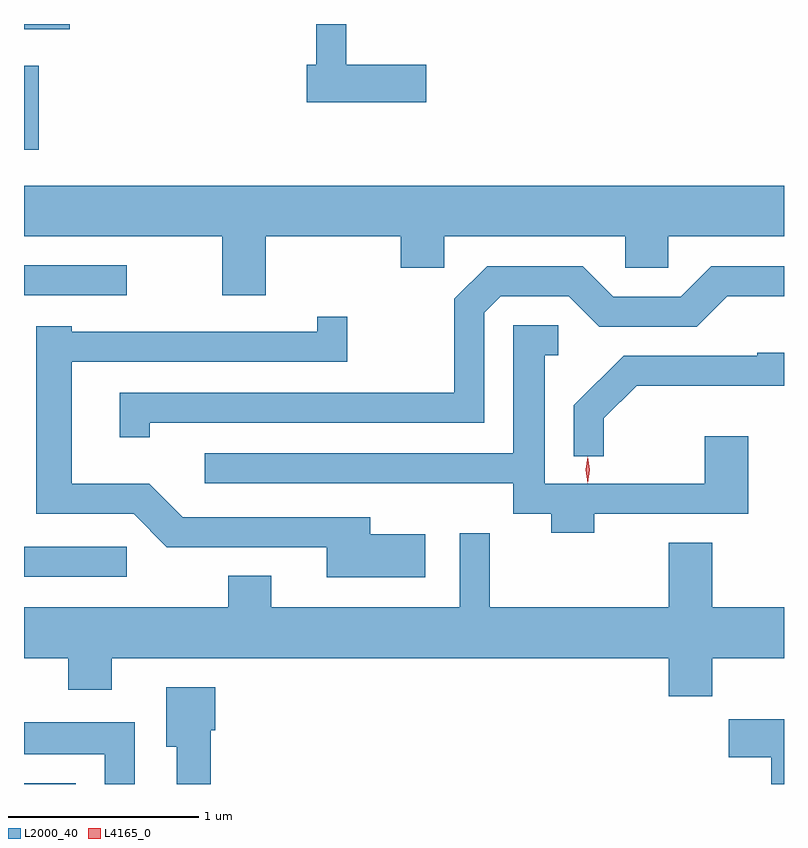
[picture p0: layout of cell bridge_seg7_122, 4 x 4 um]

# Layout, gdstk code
import gdstk
lib = gdstk.Library(unit=1e-6, precision=1e-09)
def R(c, l, rs):  # rectangles x0, y0, x1, y1
    for r in rs: c.add(gdstk.rectangle(r[:2], r[2:], *l))
def P(c, l, *ps):  # polygons
    for p in ps: c.add(gdstk.Polygon(p, *l))
L2000_40 = (2000, 40)
L4165_0 = (4165, 0)

bridge_seg7_122 = lib.new_cell('bridge_seg7_122')
R(bridge_seg7_122, L2000_40, [(1567.237,1773.594,1567.509,1773.599), (1567.237,1774.686,1567.778,1774.844), (1567.237,1776.166,1567.778,1776.324), (1567.237,1776.933,1567.314,1777.374), (1567.237,1777.566,1567.479,1777.594)])
P(bridge_seg7_122, L2000_40, [(1569.354,1777.379),(1568.934,1777.379),(1568.934,1777.594),(1568.776,1777.594),(1568.776,1777.379),(1568.726,1777.379),(1568.726,1777.181),(1569.354,1777.181)],
  [(1568.509,1776.476),(1569.221,1776.476),(1569.221,1776.311),(1569.449,1776.311),(1569.449,1776.476),(1570.401,1776.476),(1570.401,1776.311),(1570.629,1776.311),(1570.629,1776.476),(1571.237,1776.476),(1571.237,1776.744),(1567.237,1776.744),(1567.237,1776.476),(1568.281,1776.476),(1568.281,1776.166),(1568.509,1776.166)],
  [(1567.899,1775.496),(1569.659,1775.496),(1569.659,1776.074),(1569.747,1776.161),(1570.104,1776.161),(1570.264,1776.001),(1570.777,1776.001),(1570.937,1776.161),(1571.237,1776.161),(1571.237,1776.319),(1570.854,1776.319),(1570.694,1776.159),(1570.337,1776.159),(1570.177,1776.319),(1569.674,1776.319),(1569.501,1776.147),(1569.501,1775.654),(1567.741,1775.654),(1567.741,1775.418),(1567.899,1775.418)],
  [(1569.349,1774.909),(1569.059,1774.909),(1569.059,1774.999),(1568.072,1774.999),(1567.897,1775.174),(1567.489,1775.174),(1567.489,1775.816),(1568.939,1775.816),(1568.939,1776.053),(1568.781,1776.053),(1568.781,1775.974),(1567.489,1775.974),(1567.489,1776.004),(1567.301,1776.004),(1567.301,1775.016),(1567.814,1775.016),(1567.989,1774.841),(1568.831,1774.841),(1568.831,1774.681),(1569.349,1774.681)],
  [(1570.239,1775.016),(1571.049,1775.016),(1571.049,1775.424),(1570.821,1775.424),(1570.821,1775.174),(1569.979,1775.174),(1569.979,1775.851),(1570.048,1775.851),(1570.048,1776.009),(1569.811,1776.009),(1569.811,1775.334),(1568.188,1775.334),(1568.188,1775.176),(1569.811,1775.176),(1569.811,1775.016),(1570.011,1775.016),(1570.011,1774.916),(1570.239,1774.916)],
  [(1570.289,1775.519),(1570.462,1775.691),(1571.237,1775.691),(1571.237,1775.864),(1571.095,1775.864),(1571.095,1775.849),(1570.394,1775.849),(1570.131,1775.587),(1570.131,1775.318),(1570.289,1775.318)],
  [(1570.859,1774.256),(1571.237,1774.256),(1571.237,1774.524),(1570.859,1774.524),(1570.859,1774.864),(1570.631,1774.864),(1570.631,1774.524),(1569.689,1774.524),(1569.689,1774.913),(1569.531,1774.913),(1569.531,1774.524),(1568.539,1774.524),(1568.539,1774.689),(1568.311,1774.689),(1568.311,1774.524),(1567.237,1774.524),(1567.237,1774.256),(1567.471,1774.256),(1567.471,1774.091),(1567.699,1774.091),(1567.699,1774.256),(1570.631,1774.256),(1570.631,1774.056),(1570.859,1774.056)],
  [(1568.219,1773.876),(1568.244,1773.876),(1568.244,1774.104),(1567.986,1774.104),(1567.986,1773.791),(1568.041,1773.791),(1568.041,1773.594),(1568.219,1773.594)],
  [(1571.237,1773.934),(1570.946,1773.934),(1570.946,1773.736),(1571.171,1773.736),(1571.171,1773.594),(1571.237,1773.594)],
  [(1567.819,1773.919),(1567.237,1773.919),(1567.237,1773.751),(1567.661,1773.751),(1567.661,1773.594),(1567.819,1773.594)])
P(bridge_seg7_122, L4165_0, [(1570.204,1775.178),(1570.204,1775.178),(1570.194,1775.247),(1570.204,1775.316),(1570.204,1775.317),(1570.205,1775.316),(1570.214,1775.247),(1570.204,1775.178)],
  [(1570.204,1775.18),(1570.204,1775.18),(1570.195,1775.247),(1570.204,1775.313),(1570.205,1775.313),(1570.205,1775.313),(1570.215,1775.247),(1570.205,1775.18)])

lib.write_gds('bridge_seg7_122.gds')
